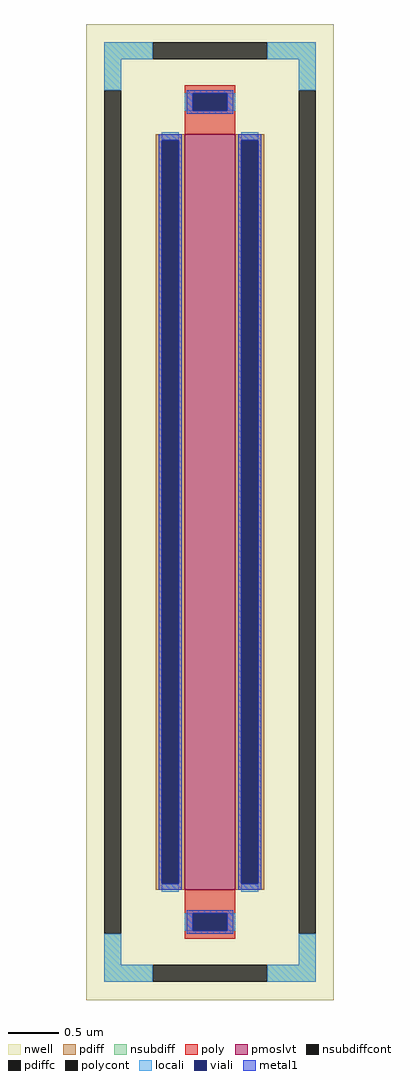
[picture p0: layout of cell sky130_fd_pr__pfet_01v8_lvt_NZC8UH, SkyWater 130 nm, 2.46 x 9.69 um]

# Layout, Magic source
magic
tech sky130A
magscale 1 2
<< nwell >>
rect -246 -969 246 969
<< pmoslvt >>
rect -50 -750 50 750
<< pdiff >>
rect -108 738 -50 750
rect -108 -738 -96 738
rect -62 -738 -50 738
rect -108 -750 -50 -738
rect 50 738 108 750
rect 50 -738 62 738
rect 96 -738 108 738
rect 50 -750 108 -738
<< pdiffc >>
rect -96 -738 -62 738
rect 62 -738 96 738
<< nsubdiff >>
rect -210 899 -114 933
rect 114 899 210 933
rect -210 837 -176 899
rect 176 837 210 899
rect -210 -899 -176 -837
rect 176 -899 210 -837
rect -210 -933 -114 -899
rect 114 -933 210 -899
<< nsubdiffcont >>
rect -114 899 114 933
rect -210 -837 -176 837
rect 176 -837 210 837
rect -114 -933 114 -899
<< poly >>
rect -50 831 50 847
rect -50 797 -34 831
rect 34 797 50 831
rect -50 750 50 797
rect -50 -797 50 -750
rect -50 -831 -34 -797
rect 34 -831 50 -797
rect -50 -847 50 -831
<< polycont >>
rect -34 797 34 831
rect -34 -831 34 -797
<< locali >>
rect -210 899 -114 933
rect 114 899 210 933
rect -210 837 -176 899
rect 176 837 210 899
rect -50 797 -34 831
rect 34 797 50 831
rect -96 738 -62 754
rect -96 -754 -62 -738
rect 62 738 96 754
rect 62 -754 96 -738
rect -50 -831 -34 -797
rect 34 -831 50 -797
rect -210 -899 -176 -837
rect 176 -899 210 -837
rect -210 -933 -114 -899
rect 114 -933 210 -899
<< viali >>
rect -34 797 34 831
rect -96 -738 -62 738
rect 62 -738 96 738
rect -34 -831 34 -797
<< metal1 >>
rect -46 831 46 837
rect -46 797 -34 831
rect 34 797 46 831
rect -46 791 46 797
rect -102 738 -56 750
rect -102 -738 -96 738
rect -62 -738 -56 738
rect -102 -750 -56 -738
rect 56 738 102 750
rect 56 -738 62 738
rect 96 -738 102 738
rect 56 -750 102 -738
rect -46 -797 46 -791
rect -46 -831 -34 -797
rect 34 -831 46 -797
rect -46 -837 46 -831
<< properties >>
string FIXED_BBOX -193 -916 193 916
string gencell sky130_fd_pr__pfet_01v8_lvt
string library sky130
string parameters w 7.5 l 0.5 m 1 nf 1 diffcov 100 polycov 100 guard 1 glc 1 grc 1 gtc 1 gbc 1 tbcov 100 rlcov 100 topc 1 botc 1 poverlap 1 doverlap 1 lmin 0.35 wmin 0.42 compatible {sky130_fd_pr__pfet_01v8  sky130_fd_pr__pfet_01v8_lvt sky130_fd_pr__pfet_01v8_hvt  sky130_fd_pr__pfet_g5v0d10v5} full_metal 1 viasrc 100 viadrn 100 viagate 100 viagb 0 viagr 0 viagl 0 viagt 0
<< end >>
